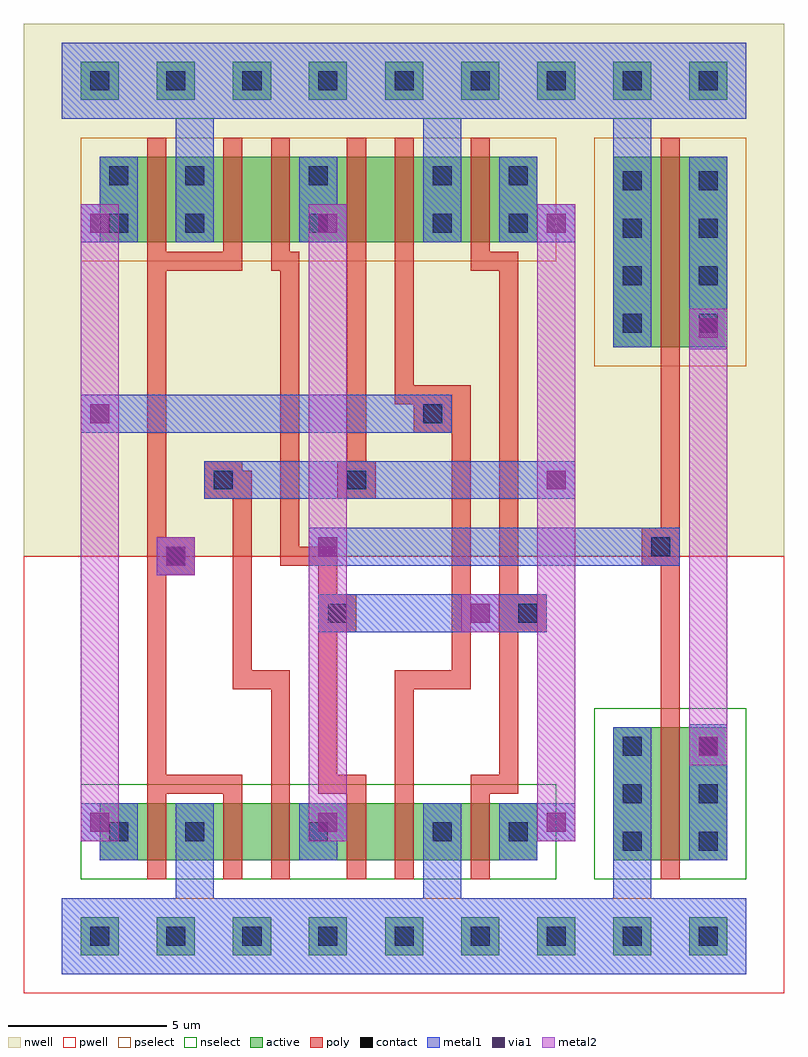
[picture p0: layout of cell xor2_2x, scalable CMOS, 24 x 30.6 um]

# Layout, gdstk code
import gdstk
lib = gdstk.Library(unit=1e-6, precision=1e-09)
def R(c, l, rs):  # rectangles x0, y0, x1, y1
    for r in rs: c.add(gdstk.rectangle(r[:2], r[2:], *l))
def A(c, l, x, y, w, h, nx, ny, dx, dy):  # array of equal rectangles
    R(c, l, [(x+i*dx, y+j*dy, x+i*dx+w, y+j*dy+h) for i in range(nx) for j in range(ny)])
contact = (25, 0)
pwell = (41, 0)
nwell = (42, 0)
active = (43, 0)
pselect = (44, 0)
nselect = (45, 0)
poly = (46, 0)
metal1 = (49, 0)
via1 = (50, 0)
metal2 = (51, 0)

xor2_2x = lib.new_cell('xor2_2x')
A(xor2_2x, contact, 0.3, -0.3, 0.6, 0.6, 9, 2, 2.4, 27)
A(xor2_2x, contact, 17.1, 2.7, 0.6, 0.6, 1, 3, 0, 1.5)
A(xor2_2x, contact, 19.5, 2.7, 0.6, 0.6, 1, 3, 0, 1.5)
A(xor2_2x, contact, 3.3, 3, 0.6, 0.6, 3, 2, 3.9, 19.2)
A(xor2_2x, contact, 17.1, 19.05, 0.6, 0.6, 1, 4, 0, 1.5)
A(xor2_2x, contact, 19.5, 19.05, 0.6, 0.6, 1, 4, 0, 1.5)
A(xor2_2x, contact, 3.3, 23.7, 0.6, 0.6, 3, 1, 3.9, 0)
R(xor2_2x, contact, [(0.9,3,1.5,3.6), (13.5,3,14.1,3.6), (7.8,9.9,8.4,10.5), (13.8,9.9,14.4,10.5), (2.7,11.7,3.3,12.3), (18,12,18.6,12.6), (4.2,14.1,4.8,14.7), (8.4,14.1,9,14.7), (10.8,16.2,11.4,16.8), (0.9,22.2,1.5,22.8), (13.5,22.2,14.1,22.8), (0.9,23.7,1.5,24.3), (13.5,23.7,14.1,24.3)])
A(xor2_2x, pwell, -0.9, -1.5, 3, 3, 9, 1, 2.4, 0)
A(xor2_2x, pwell, 1.2, 0.6, 4.8, 5.4, 3, 1, 3.9, 0)
R(xor2_2x, pwell, [(-1.8,-1.8,22.2,12), (-1.2,0.6,3.6,6), (-0.6,0.6,5.4,6), (1.8,0.6,7.8,6), (3.3,0.6,9.3,6), (5.7,0.6,11.7,6), (7.2,0.6,13.2,6), (9.6,0.6,15.6,6), (11.4,0.6,16.2,6), (15,0.6,19.8,8.4), (15.6,0.6,21.6,8.4), (17.4,0.6,22.2,8.4), (1.35,1.05,5.925,5.55), (9.15,1.05,13.725,5.55), (11.475,1.05,16.05,5.55), (2.925,1.35,8.175,5.85), (5.175,1.35,9.75,5.85), (5.175,1.35,9.825,5.85), (5.25,1.35,9.825,5.85), (6.825,1.35,12.075,5.85), (9.075,1.35,13.65,5.85), (-1.05,1.5,3.525,6), (1.275,1.5,5.85,6), (17.475,3.75,22.05,8.25), (15.15,3.894,19.725,8.394)])
A(xor2_2x, nwell, 1.2, 20.1, 4.8, 6.3, 3, 1, 3.9, 0)
A(xor2_2x, nwell, -0.9, 25.5, 3, 3, 9, 1, 2.4, 0)
R(xor2_2x, nwell, [(-1.8,12,22.2,28.8), (15,16.8,19.8,26.4), (15.6,16.8,21.6,26.4), (17.4,16.8,22.2,26.4), (17.475,16.95,22.05,21.45), (15.15,19.35,19.725,23.85), (-1.2,20.1,3.6,26.4), (-1.05,20.1,3.525,24.6), (-0.6,20.1,5.4,26.4), (1.8,20.1,7.8,26.4), (3.3,20.1,9.3,26.4), (5.7,20.1,11.7,26.4), (7.2,20.1,13.2,26.4), (9.6,20.1,15.6,26.4), (11.4,20.1,16.2,26.4), (9.075,20.19,13.65,24.69), (1.35,20.25,5.925,24.75), (2.925,20.25,8.175,24.75), (5.175,20.25,9.825,24.75), (6.825,20.25,12.075,24.75), (1.275,20.37,5.85,24.87), (9.15,20.52,13.725,25.02), (11.475,20.55,16.05,25.05), (5.175,20.85,9.75,25.35), (5.25,20.85,9.825,25.35)])
A(xor2_2x, active, 0, -0.6, 1.2, 1.2, 9, 2, 2.4, 27)
A(xor2_2x, active, 3, 2.4, 1.2, 1.8, 3, 1, 3.9, 0)
A(xor2_2x, active, 3, 21.9, 1.2, 2.7, 3, 1, 3.9, 0)
R(xor2_2x, active, [(0.6,2.4,1.8,4.2), (1.2,2.4,3.6,4.2), (3.6,2.4,6,4.2), (5.1,2.4,7.5,4.2), (7.5,2.4,9.9,4.2), (9,2.4,11.4,4.2), (11.4,2.4,13.8,4.2), (13.2,2.4,14.4,4.2), (16.8,2.4,18,6.6), (17.4,2.4,19.8,6.6), (19.2,2.4,20.4,6.6), (3.15,2.85,4.125,3.75), (10.95,2.85,11.925,3.75), (13.275,2.85,14.25,3.75), (4.725,3.15,6.375,4.05), (6.975,3.15,7.95,4.05), (6.975,3.15,8.025,4.05), (7.05,3.15,8.025,4.05), (8.625,3.15,10.275,4.05), (10.875,3.15,11.85,4.05), (0.75,3.3,1.725,4.2), (3.075,3.3,4.05,4.2), (19.275,5.55,20.25,6.45), (16.95,5.694,17.925,6.594), (16.8,18.6,18,24.6), (17.4,18.6,19.8,24.6), (19.2,18.6,20.4,24.6), (19.275,18.75,20.25,19.65), (16.95,21.15,17.925,22.05), (0.6,21.9,1.8,24.6), (0.75,21.9,1.725,22.8), (1.2,21.9,3.6,24.6), (3.6,21.9,6,24.6), (5.1,21.9,7.5,24.6), (7.5,21.9,9.9,24.6), (9,21.9,11.4,24.6), (11.4,21.9,13.8,24.6), (13.2,21.9,14.4,24.6), (10.875,21.99,11.85,22.89), (3.15,22.05,4.125,22.95), (4.725,22.05,6.375,22.95), (6.975,22.05,8.025,22.95), (8.625,22.05,10.275,22.95), (3.075,22.17,4.05,23.07), (10.95,22.32,11.925,23.22), (13.275,22.35,14.25,23.25), (6.975,22.65,7.95,23.55), (7.05,22.65,8.025,23.55)])
A(xor2_2x, pselect, -0.6, -1.2, 2.4, 2.4, 9, 1, 2.4, 0)
A(xor2_2x, pselect, 2.4, 21.3, 2.4, 3.9, 3, 1, 3.9, 0)
R(xor2_2x, pselect, [(16.2,18,18.6,25.2), (16.8,18,20.4,25.2), (18.6,18,21,25.2), (18.675,18.15,20.85,20.25), (16.35,20.55,18.525,22.65), (0,21.3,2.4,25.2), (0.15,21.3,2.325,23.4), (0.6,21.3,4.2,25.2), (3,21.3,6.6,25.2), (4.5,21.3,8.1,25.2), (6.9,21.3,10.5,25.2), (8.4,21.3,12,25.2), (10.8,21.3,14.4,25.2), (12.6,21.3,15,25.2), (10.275,21.39,12.45,23.49), (2.55,21.45,4.725,23.55), (4.125,21.45,6.975,23.55), (6.375,21.45,8.625,23.55), (8.025,21.45,10.875,23.55), (2.475,21.57,4.65,23.67), (10.35,21.72,12.525,23.82), (12.675,21.75,14.85,23.85), (6.375,22.05,8.55,24.15), (6.45,22.05,8.625,24.15)])
A(xor2_2x, nselect, 2.4, 1.8, 2.4, 3, 3, 1, 3.9, 0)
A(xor2_2x, nselect, -0.6, 25.8, 2.4, 2.4, 9, 1, 2.4, 0)
R(xor2_2x, nselect, [(0,1.8,2.4,4.8), (0.6,1.8,4.2,4.8), (3,1.8,6.6,4.8), (4.5,1.8,8.1,4.8), (6.9,1.8,10.5,4.8), (8.4,1.8,12,4.8), (10.8,1.8,14.4,4.8), (12.6,1.8,15,4.8), (16.2,1.8,18.6,7.2), (16.8,1.8,20.4,7.2), (18.6,1.8,21,7.2), (2.55,2.25,4.725,4.35), (10.35,2.25,12.525,4.35), (12.675,2.25,14.85,4.35), (4.125,2.55,6.975,4.65), (6.375,2.55,8.55,4.65), (6.375,2.55,8.625,4.65), (6.45,2.55,8.625,4.65), (8.025,2.55,10.875,4.65), (10.275,2.55,12.45,4.65), (0.15,2.7,2.325,4.8), (2.475,2.7,4.65,4.8), (18.675,4.95,20.85,7.05), (16.35,5.094,18.525,7.194)])
R(xor2_2x, poly, [(2.1,1.8,2.7,4.8), (4.5,1.8,5.1,4.8), (6,1.8,6.6,4.8), (8.4,1.8,9,4.8), (9.9,1.8,10.5,4.8), (12.3,1.8,12.9,4.8), (18.3,1.8,18.9,7.2), (2.1,4.5,5.1,5.1), (2.1,4.5,2.7,5.1), (2.1,4.5,2.7,12.3), (6,4.5,6.6,8.4), (7.5,4.5,9,5.1), (7.5,4.5,8.1,10.5), (9.9,4.5,10.5,8.4), (12.3,4.5,13.8,5.1), (13.2,4.5,13.8,10.5), (18.3,6.9,18.9,12.6), (4.8,7.8,6.6,8.4), (4.8,7.8,5.4,14.7), (9.9,7.8,12.3,8.4), (11.7,7.8,12.3,17.4), (7.5,9.6,8.7,10.8), (13.5,9.6,14.7,10.8), (7.5,9.9,8.4,10.5), (7.5,9.9,8.1,12.3), (13.2,9.9,13.8,21.6), (13.2,9.9,14.4,10.5), (2.4,11.4,3.6,12.6), (2.1,11.7,2.7,21.6), (2.1,11.7,3.3,12.3), (6.3,11.7,8.1,12.3), (6.3,11.7,6.9,21.6), (17.7,11.7,18.9,12.9), (18,12,18.9,12.6), (18.3,12,18.9,18.3), (3.9,13.8,5.1,15), (8.1,13.8,9.3,15), (4.2,14.1,5.4,14.7), (8.4,14.1,9,21.6), (10.5,15.9,11.7,17.1), (10.8,16.2,11.4,17.4), (9.9,16.8,11.4,17.4), (9.9,16.8,10.5,21.6), (10.8,16.8,12.3,17.4), (18.3,18,18.9,25.2), (2.1,21,5.1,21.6), (6,21,6.9,21.6), (12.3,21,13.8,21.6), (2.1,21.3,2.7,25.2), (4.5,21.3,5.1,25.2), (6,21.3,6.6,25.2), (8.4,21.3,9,25.2), (9.9,21.3,10.5,25.2), (12.3,21.3,12.9,25.2)])
A(xor2_2x, metal1, 11.4, -1.2, 4.8, 2.4, 3, 2, 2.4, 27)
A(xor2_2x, metal1, 0, -0.6, 1.2, 1.2, 9, 1, 2.4, 0)
A(xor2_2x, metal1, 3, 2.4, 1.2, 1.8, 3, 1, 3.9, 0)
A(xor2_2x, metal1, 0, 3, 1.2, 1.2, 3, 2, 7.2, 18.9)
A(xor2_2x, metal1, 3, 21.9, 1.2, 2.7, 3, 1, 3.9, 0)
A(xor2_2x, metal1, 0, 26.4, 1.2, 1.2, 4, 1, 2.4, 0)
A(xor2_2x, metal1, 9.6, 26.4, 1.2, 1.2, 5, 1, 2.4, 0)
R(xor2_2x, metal1, [(-0.6,-1.2,1.8,1.2), (-0.6,-1.2,4.2,1.2), (-0.6,-1.2,4.2,1.2), (1.8,-1.2,4.8,1.2), (1.8,-1.2,4.8,1.2), (2.4,-1.2,6.6,1.2), (4.2,-1.2,9,1.2), (6.6,-1.2,11.4,1.2), (9,-1.2,12.6,1.2), (10.2,-1.2,13.8,1.2), (3,-0.6,4.2,3.6), (10.8,-0.6,12,3.6), (16.8,-0.6,18,3.6), (19.2,-0.6,20.4,0.6), (0.6,2.4,1.8,4.2), (13.2,2.4,14.4,4.2), (16.8,2.4,18,6.6), (19.2,2.4,20.4,6.6), (0,3,1.8,4.2), (6.9,3,8.4,4.2), (13.2,3,15.6,4.2), (19.2,5.4,20.4,6.6), (19.2,5.4,20.4,6.681), (7.5,9.6,8.7,10.8), (7.5,9.6,13.2,10.8), (12,9.6,13.2,10.8), (12,9.6,14.7,10.8), (13.5,9.6,14.7,10.8), (2.4,11.4,3.6,12.6), (2.4,11.4,3.6,12.6), (2.4,11.4,3.6,12.6), (7.2,11.7,8.4,12.9), (7.2,11.7,18.9,12.9), (17.7,11.7,18.9,12.9), (3.9,13.8,5.1,15), (3.9,13.8,9.3,15), (8.1,13.8,9.3,15), (8.1,13.8,15.6,15), (14.4,13.8,15.6,15), (0,15.9,1.2,17.1), (0,15.9,11.7,17.1), (10.5,15.9,11.7,17.1), (19.2,18.525,20.4,19.8), (16.8,18.6,18,24.6), (19.2,18.6,20.4,24.6), (19.2,18.6,20.4,19.8), (16.8,21.075,18,27.6), (0,21.9,1.8,23.1), (0.6,21.9,1.8,24.6), (6.9,21.9,8.4,23.1), (6.9,21.9,8.4,23.1), (13.2,21.9,14.4,24.6), (13.2,21.9,15.6,23.1), (3,22.14,4.2,27.6), (10.8,23.4,12,27.6), (-0.6,25.8,1.8,28.2), (-0.6,25.8,4.2,28.2), (1.8,25.8,4.8,28.2), (2.4,25.8,9,28.2), (6.6,25.8,11.4,28.2), (9,25.8,12.6,28.2), (0,26.4,1.2,27.6), (4.8,26.4,8.4,27.6), (7.2,26.4,8.4,27.6), (9.6,26.4,10.8,27.6), (10.8,26.4,13.2,27.6), (19.2,26.4,20.4,27.6)])
A(xor2_2x, via1, 0.3, 3.3, 0.6, 0.6, 3, 2, 7.2, 18.9)
R(xor2_2x, via1, [(19.5,5.7,20.1,6.3), (12.3,9.9,12.9,10.5), (2.7,11.7,3.3,12.3), (7.5,12,8.1,12.6), (14.7,14.1,15.3,14.7), (0.3,16.2,0.9,16.8), (19.5,18.9,20.1,19.5)])
A(xor2_2x, metal2, 0, 3, 1.2, 1.2, 3, 2, 7.2, 18.9)
A(xor2_2x, metal2, 19.2, 5.4, 1.2, 1.2, 1, 3, 0, 6.6)
R(xor2_2x, metal2, [(7.2,3,8.4,12.9), (0,3.3,1.2,17.1), (14.4,3.3,15.6,15), (19.2,5.4,20.4,13.2), (12,9.6,13.2,10.8), (2.4,11.4,3.6,12.6), (7.2,11.7,8.4,12.9), (7.2,11.7,8.4,23.1), (19.2,12,20.4,19.8), (14.4,13.8,15.6,15), (14.4,13.8,15.6,22.8), (0,15.9,1.2,17.1), (0,15.9,1.2,22.8)])

lib.write_gds('xor2_2x.gds')
